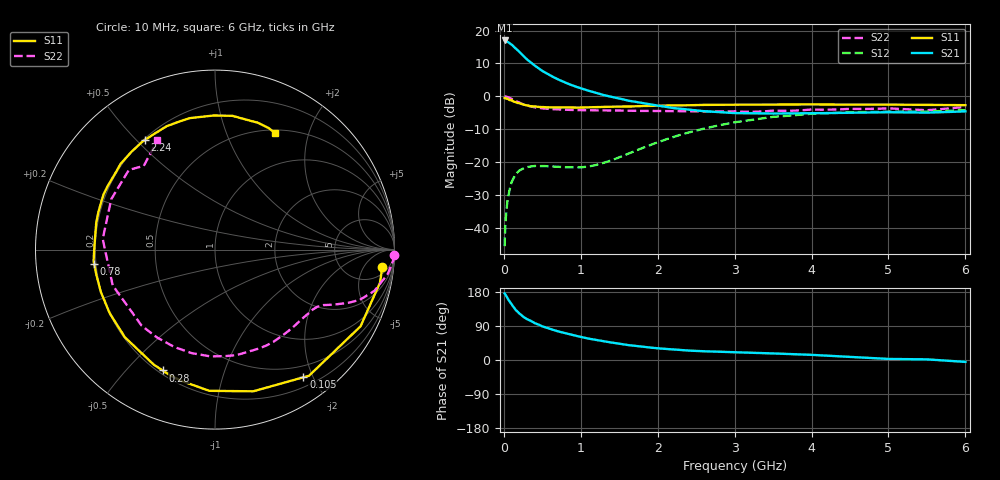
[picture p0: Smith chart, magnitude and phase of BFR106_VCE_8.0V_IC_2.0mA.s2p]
! Infineon Technologies  Discrete & RF Semiconductors
! BFR106
! VCE =  8.0 V,  IC =  2.0 mA
! Common Emitter S-Parameters:  Nov 2015
# GHz  S  MA  R  50
!  f  S11  S21  S12  S22
! GHz  MAG  ANG  MAG  ANG  MAG  ANG  MAG  ANG
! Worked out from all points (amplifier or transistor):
!   210 points, 10 MHz to 6 GHz, reference 50 ohm
!   highest |S21| = 17.0 dB at 10 MHz (marker M1)
!   |S21| within 3 dB of that: start of sweep to 179.9 MHz
!   unconditionally stable (mu >= 1): 795.8 MHz to 1.807 GHz; 4.091 GHz to end of sweep
!   at 185 MHz: K = 0.24, MSG = 18.4 dB, |S12| = -23.0 dB
!   at 1.52 GHz: K = 1.17, MAG = 6.3 dB, |S12| = -18.4 dB
!   at 6 GHz: K = 1.02, MAG = -1.1 dB, |S12| = -4.2 dB
!   S11 on the Smith chart (normalised r, x): 10 MHz: 9, -14; 105 MHz: 0.33, -1.86; 280 MHz: 0.22, -0.63; 780 MHz: 0.19, -0.06; 2.24 GHz: 0.21, +0.53; 6 GHz: 0.53, +1.50
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0.01  0.9375 -5.8  7.075 175.6  0.0052 87.9  0.9992 -1.7
0.025  0.9288 -14.1  6.933 171.1  0.0136 79.2  0.9916 -4.1
0.05  0.9166 -27.8  6.746 161.7  0.0267 74.8  0.9723 -8.0
0.1  0.8765 -53.3  6.168 146.8  0.0489 62.3  0.9177 -14.5
0.105  0.8654 -55.3  6.077 145.6  0.0503 60.9  0.9111 -14.9
0.155  0.8115 -76.6  5.333 132.0  0.0651 50.6  0.8491 -19.3
0.2  0.7874 -92.3  4.774 123.1  0.0736 44.2  0.8008 -21.7
0.24  0.756 -103.8  4.276 116.2  0.0784 39.4  0.763 -23.3
0.28  0.7338 -113.4  3.849 110.6  0.0819 36.1  0.7351 -24.5
0.3  0.7265 -117.9  3.65 107.9  0.0834 34.7  0.7229 -25.1
0.4  0.7005 -135.8  2.941 97.5  0.0866 29.8  0.6786 -27.1
0.5  0.6854 -148.9  2.43 88.8  0.0866 27.9  0.6528 -29.2
0.6  0.6784 -159.6  2.078 81.9  0.0856 28.1  0.6387 -31.6
0.78  0.6779 -173.4  1.647 71.5  0.0832 32.0  0.6241 -36.6
1.02  0.673 171.4  1.297 60.1  0.083 43.5  0.6136 -44.0
1.4  0.6929 153.5  0.976 46.1  0.1056 64.5  0.6083 -57.7
2.02  0.7169 129.9  0.714 30.5  0.2026 73.4  0.5962 -84.0
2.24  0.7246 122.7  0.654 27.1  0.2469 71.4  0.5933 -94.4
3.1  0.7442 98.8  0.552 19.9  0.4162 53.6  0.5815 -139.4
4.1  0.7495 81.4  0.552 12.5  0.5453 29.6  0.6247 170.5
5.1  0.7445 70.4  0.569 2.6  0.5838 11.2  0.6448 135.9
6  0.731 63.0  0.588 -5.0  0.6144 -0.7  0.6877 117.8
